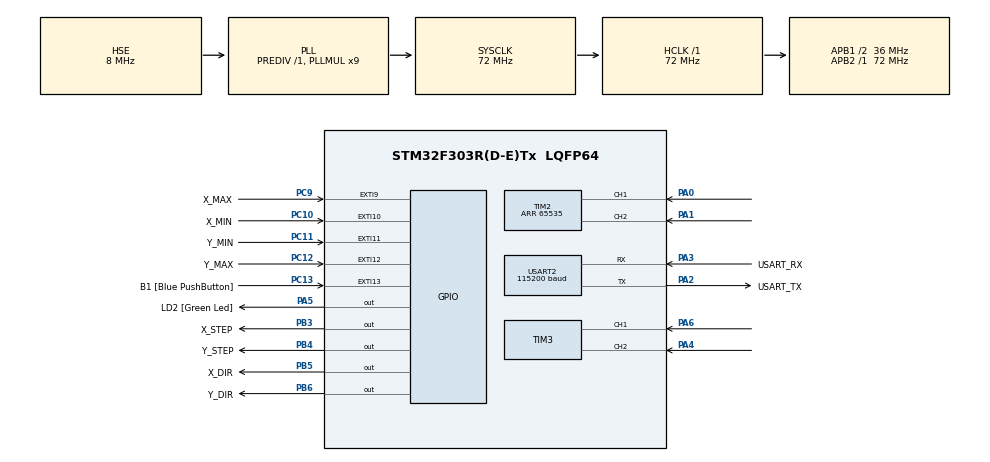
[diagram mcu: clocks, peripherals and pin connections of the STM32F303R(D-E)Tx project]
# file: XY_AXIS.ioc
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Dma.Request0=USART2_RX
Dma.Request1=USART2_TX
Dma.USART2_RX.0.Direction=DMA_PERIPH_TO_MEMORY
Dma.USART2_RX.0.Instance=DMA1_Channel6
Dma.USART2_RX.0.MemDataAlignment=DMA_MDATAALIGN_BYTE
Dma.USART2_RX.0.MemInc=DMA_MINC_ENABLE
Dma.USART2_RX.0.Mode=DMA_CIRCULAR
Dma.USART2_RX.0.PeriphDataAlignment=DMA_PDATAALIGN_BYTE
Dma.USART2_RX.0.PeriphInc=DMA_PINC_DISABLE
Dma.USART2_RX.0.Priority=DMA_PRIORITY_LOW
Dma.USART2_TX.1.Direction=DMA_MEMORY_TO_PERIPH
Dma.USART2_TX.1.Instance=DMA1_Channel7
Dma.USART2_TX.1.MemDataAlignment=DMA_MDATAALIGN_BYTE
Dma.USART2_TX.1.MemInc=DMA_MINC_ENABLE
Dma.USART2_TX.1.Mode=DMA_NORMAL
Dma.USART2_TX.1.PeriphDataAlignment=DMA_PDATAALIGN_BYTE
Dma.USART2_TX.1.PeriphInc=DMA_PINC_DISABLE
Dma.USART2_TX.1.Priority=DMA_PRIORITY_LOW
Mcu.Family=STM32F3
Mcu.Name=STM32F303R(D-E)Tx
Mcu.Package=LQFP64
NVIC.DMA1_Channel6_IRQn=true\:0\:0\:false\:false\:true\:false\:true\:true
NVIC.DMA1_Channel7_IRQn=true\:0\:0\:false\:false\:true\:false\:true\:true
NVIC.EXTI15_10_IRQn=true\:0\:0\:false\:false\:true\:true\:true\:true
NVIC.EXTI9_5_IRQn=true\:0\:0\:false\:false\:true\:true\:true\:true
NVIC.PriorityGroup=NVIC_PRIORITYGROUP_0
NVIC.TIM6_DAC_IRQn=true\:0\:0\:false\:false\:true\:true\:true\:true
NVIC.USART2_IRQn=true\:0\:0\:false\:false\:true\:true\:true\:true
PA0.Signal=S_TIM2_CH1_ETR
PA1.Signal=S_TIM2_CH2
PA13.GPIO_Label=TMS
PA13.Mode=Serial_Wire
PA13.Signal=SYS_JTMS-SWDIO
PA14.GPIO_Label=TCK
PA14.Mode=Serial_Wire
PA14.Signal=SYS_JTCK-SWCLK
PA2.GPIO_Label=USART_TX
PA2.GPIO_Mode=GPIO_MODE_AF_PP
PA2.GPIO_PuPd=GPIO_NOPULL
PA2.GPIO_Speed=GPIO_SPEED_FREQ_LOW
PA2.Mode=Asynchronous
PA2.Signal=USART2_TX
PA3.GPIO_Label=USART_RX
PA3.GPIO_Mode=GPIO_MODE_AF_PP
PA3.GPIO_PuPd=GPIO_NOPULL
PA3.GPIO_Speed=GPIO_SPEED_FREQ_LOW
PA3.Mode=Asynchronous
PA3.Signal=USART2_RX
PA4.Signal=S_TIM3_CH2
PA5.GPIO_Label=LD2 [Green Led]
PA5.GPIO_Mode=GPIO_MODE_OUTPUT_PP
PA5.GPIO_PuPd=GPIO_NOPULL
PA5.GPIO_Speed=GPIO_SPEED_FREQ_LOW
PA5.Signal=GPIO_Output
PA6.Signal=S_TIM3_CH1
PB3.GPIO_Label=X_STEP
PB3.GPIO_ModeDefaultOutputPP=GPIO_MODE_OUTPUT_OD
PB3.GPIO_PuPd=GPIO_NOPULL
PB3.GPIO_Speed=GPIO_SPEED_FREQ_HIGH
PB3.Signal=GPIO_Output
PB4.GPIO_Label=Y_STEP
PB4.GPIO_ModeDefaultOutputPP=GPIO_MODE_OUTPUT_OD
PB4.GPIO_PuPd=GPIO_NOPULL
PB4.GPIO_Speed=GPIO_SPEED_FREQ_HIGH
PB4.Signal=GPIO_Output
PB5.GPIO_Label=X_DIR
PB5.GPIO_ModeDefaultOutputPP=GPIO_MODE_OUTPUT_OD
PB5.GPIO_PuPd=GPIO_NOPULL
PB5.GPIO_Speed=GPIO_SPEED_FREQ_HIGH
PB5.Signal=GPIO_Output
PB6.GPIO_FM6=SYSCFG_CFGR1_I2C_PB6_FMP
PB6.GPIO_Label=Y_DIR
PB6.GPIO_ModeDefaultOutputPP=GPIO_MODE_OUTPUT_OD
PB6.GPIO_PuPd=GPIO_NOPULL
PB6.GPIO_Speed=GPIO_SPEED_FREQ_HIGH
PB6.Signal=GPIO_Output
PC10.GPIO_Label=X_MIN
PC10.GPIO_ModeDefaultEXTI=GPIO_MODE_IT_FALLING
PC10.Signal=GPXTI10
PC11.GPIO_Label=Y_MIN
PC11.GPIO_ModeDefaultEXTI=GPIO_MODE_IT_FALLING
PC11.Signal=GPXTI11
PC12.GPIO_Label=Y_MAX
PC12.GPIO_ModeDefaultEXTI=GPIO_MODE_IT_FALLING
PC12.Signal=GPXTI12
PC13.GPIO_Label=B1 [Blue PushButton]
PC13.GPIO_ModeDefaultEXTI=GPIO_MODE_IT_FALLING
PC13.Signal=GPXTI13
PC14-OSC32_IN.Mode=LSE-External-Oscillator
PC14-OSC32_IN.Signal=RCC_OSC32_IN
PC15-OSC32_OUT.Mode=LSE-External-Oscillator
PC15-OSC32_OUT.Signal=RCC_OSC32_OUT
PC9.GPIO_Label=X_MAX
PC9.GPIO_ModeDefaultEXTI=GPIO_MODE_IT_FALLING
PC9.Signal=GPXTI9
PF0-OSC_IN.Mode=HSE-External-Clock-Source
PF0-OSC_IN.Signal=RCC_OSC_IN
PF1-OSC_OUT.Signal=RCC_OSC_OUT
ProjectManager.HeapSize=0x200
ProjectManager.StackSize=0x400
ProjectManager.TargetToolchain=STM32CubeIDE
RCC.AHBFreq_Value=72000000
RCC.APB1CLKDivider=RCC_HCLK_DIV2
RCC.APB1Freq_Value=36000000
RCC.APB1TimFreq_Value=72000000
RCC.APB2Freq_Value=72000000
RCC.APB2TimFreq_Value=72000000
RCC.CortexFreq_Value=72000000
RCC.HCLKFreq_Value=72000000
RCC.HSE_VALUE=8000000
RCC.HSI_VALUE=8000000
RCC.PLLM=8
RCC.PLLMUL=RCC_PLL_MUL9
RCC.PLLN=336
RCC.PLLP=RCC_PLLP_DIV4
RCC.PLLQ=7
RCC.PLLSourceVirtual=RCC_PLLSOURCE_HSE
RCC.RCC_PLLsource_Clock_Source_FROM_HSE=RCC_HSE_PREDIV_DIV2
RCC.SYSCLKFreq_VALUE=72000000
RCC.SYSCLKSourceVirtual=RCC_SYSCLKSOURCE_PLLCLK
RCC.USBFreq_Value=72000000
SH.S_TIM2_CH1_ETR.0=TIM2_CH1,Encoder_Interface
SH.S_TIM2_CH2.0=TIM2_CH2,Encoder_Interface
SH.S_TIM3_CH1.0=TIM3_CH1,Encoder_Interface
SH.S_TIM3_CH2.0=TIM3_CH2,Encoder_Interface
TIM2.EncoderMode=TIM_ENCODERMODE_TI12
TIM2.Period=65535
TIM3.EncoderMode=TIM_ENCODERMODE_TI12
TIM6.Period=99
TIM6.Prescaler=71
USART2.BaudRate=115200
USART2.VirtualMode-Asynchronous=VM_ASYNC
VP_TIM6_VS_ClockSourceINT.Mode=Enable_Timer
board=NUCLEO-F303RE

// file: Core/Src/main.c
/* USER CODE BEGIN Header */
/**
  ******************************************************************************
  * @file           : main.c
  * @brief          : Main program body
  ******************************************************************************
  * @attention
  *
  * Copyright (c) 2026 STMicroelectronics.
  * All rights reserved.
  *
  * This software is licensed under terms that can be found in the LICENSE file
  * in the root directory of this software component.
  * If no LICENSE file comes with this software, it is provided AS-IS.
  *
  ******************************************************************************
  */
/* USER CODE END Header */
#include "main.h"

/* USER CODE BEGIN Includes */
#include <stdio.h>
#include <string.h>
#include <stdlib.h>

/* USER CODE END Includes */

TIM_HandleTypeDef htim2;
TIM_HandleTypeDef htim3;
TIM_HandleTypeDef htim6;

UART_HandleTypeDef huart2;
DMA_HandleTypeDef hdma_usart2_rx;
DMA_HandleTypeDef hdma_usart2_tx;

/* USER CODE BEGIN PV */

volatile int32_t virtual_X = 0;
volatile int32_t current_X = 0;
volatile int32_t target_X  = 0;
volatile uint8_t e_stop_flag = 0;
volatile uint32_t last_telemetry_tick = 0;
uint16_t x_last_cnt = 0;

volatile int32_t virtual_Y = 0;
volatile int32_t current_Y = 0;
volatile int32_t target_Y  = 0;
uint16_t y_last_cnt = 0;

uint8_t rx_buffer[64];
uint8_t tx_buffer[64];

typedef struct {
    volatile int32_t* current_virtual_pos;
    int32_t target_pos;
    int32_t steps_total;
    int32_t steps_done;
    int32_t accel_steps;
    uint32_t current_delay;
    uint32_t min_delay;
    uint32_t max_delay;
    uint32_t tick_counter;
    uint8_t pulse_active;
    GPIO_TypeDef* step_port;
    uint16_t step_pin;
    GPIO_TypeDef* dir_port;
    uint16_t dir_pin;
} AxisProfile_t;

volatile AxisProfile_t axisX = {&virtual_X, 0, 0, 0, 0, 30, 5, 30, 0, 0, X_STEP_GPIO_Port, X_STEP_Pin, X_DIR_GPIO_Port, X_DIR_Pin};
volatile AxisProfile_t axisY = {&virtual_Y, 0, 0, 0, 0, 30, 5, 30, 0, 0, Y_STEP_GPIO_Port, Y_STEP_Pin, Y_DIR_GPIO_Port, Y_DIR_Pin};

volatile uint8_t uart_rx_restart = 0;
volatile uint8_t cmd_ready = 0;
uint8_t cmd_buffer[64];

typedef enum {
    STATE_IDLE,
    STATE_MOVING,
    STATE_HOMING,
    STATE_VERIFYING,
	STATE_CALIBRATING
} MachineState;

volatile MachineState system_state = STATE_IDLE;
volatile uint32_t verify_timer = 0;
volatile uint8_t correction_attempts = 0;
volatile uint8_t pending_calibration_x = 0;
volatile uint8_t pending_calibration_y = 0;
volatile int32_t calibration_start_steps = 0;

volatile int32_t test_x_MAX = 0;
volatile int32_t test_x_MIN = 0;
volatile int32_t test_y_MAX = 0;
volatile int32_t test_y_MIN = 0;

/* USER CODE END PV */

void SystemClock_Config(void);
static void MX_GPIO_Init(void);
static void MX_DMA_Init(void);
static void MX_USART2_UART_Init(void);
static void MX_TIM2_Init(void);
static void MX_TIM3_Init(void);
static void MX_TIM6_Init(void);

/* USER CODE BEGIN 0 */

void ProcessAxis(volatile AxisProfile_t* axis) {
    if (axis->steps_done >= axis->steps_total) return;

    if (!axis->pulse_active && axis->tick_counter == 0) {
        if (axis->target_pos > *(axis->current_virtual_pos)) {
            HAL_GPIO_WritePin(axis->dir_port, axis->dir_pin, GPIO_PIN_RESET);
        } else {
            HAL_GPIO_WritePin(axis->dir_port, axis->dir_pin, GPIO_PIN_SET);
        }
    }
    axis->tick_counter++;

    if (!axis->pulse_active && axis->tick_counter >= axis->current_delay) {
    	axis->tick_counter = 0;

        HAL_GPIO_WritePin(axis->step_port, axis->step_pin, GPIO_PIN_RESET);
        axis->pulse_active = 1;
        axis->steps_done++;

        if (axis->target_pos > *(axis->current_virtual_pos)) {
            (*(axis->current_virtual_pos))++;
        } else {
            (*(axis->current_virtual_pos))--;
        }

        // Rampa
        int32_t steps_left = axis->steps_total - axis->steps_done;
        if (axis->steps_done < axis->accel_steps) {
            if (axis->current_delay > axis->min_delay) axis->current_delay--;
        } else if (steps_left <= axis->accel_steps) {
            if (axis->current_delay < axis->max_delay) axis->current_delay++;
        }
    }

    if (axis->pulse_active && axis->tick_counter >= 1) {
        HAL_GPIO_WritePin(axis->step_port, axis->step_pin, GPIO_PIN_SET);
        axis->pulse_active = 0;
    }
}
/* USER CODE END 0 */

int main(void)
{

  /* MCU Configuration--------------------------------------------------------*/

  /* Reset of all peripherals, Initializes the Flash interface and the Systick. */
  HAL_Init();

  /* Configure the system clock */
  SystemClock_Config();

  /* Initialize all configured peripherals */
  MX_GPIO_Init();
  MX_DMA_Init();
  MX_USART2_UART_Init();
  MX_TIM2_Init();
  MX_TIM3_Init();
  MX_TIM6_Init();
  /* USER CODE BEGIN 2 */
  HAL_TIM_Encoder_Start(&htim2, TIM_CHANNEL_ALL);
  HAL_TIM_Encoder_Start(&htim3, TIM_CHANNEL_ALL);
  HAL_TIM_Base_Start_IT(&htim6);

  HAL_UARTEx_ReceiveToIdle_DMA(&huart2, rx_buffer, sizeof(rx_buffer));
  __HAL_DMA_DISABLE_IT(&hdma_usart2_rx, DMA_IT_HT);

  /* USER CODE END 2 */

  /* Infinite loop */
  /* USER CODE BEGIN WHILE */
  while (1)
  {
	  if (cmd_ready) {
		  cmd_ready = 0;
		  if (cmd_buffer[0] == 'S') {
			  __disable_irq();
	          e_stop_flag = 1;
	          virtual_X = current_X; target_X = current_X;
	          virtual_Y = current_Y; target_Y = current_Y;
	          system_state = STATE_IDLE;
	          correction_attempts = 0;
	          __enable_irq();
		  }
		  else if (cmd_buffer[0] == 'M') {
			  if (e_stop_flag == 0) {
				  long parsed_X = 0, parsed_Y = 0;
				  if (sscanf((char*)cmd_buffer, "M:%ld:%ld", &parsed_X, &parsed_Y) == 2) {
					  __disable_irq();
					  target_X = parsed_X;
	                  axisX.steps_done = axisX.steps_total;
	                  axisX.target_pos = target_X;
	                  axisX.steps_total = abs(axisX.target_pos - (*axisX.current_virtual_pos));
	                  axisX.steps_done = 0;
	                  axisX.current_delay = axisX.max_delay;
	                  axisX.accel_steps = axisX.steps_total / 3;
	                  if (axisX.accel_steps > 400) axisX.accel_steps = 400;
	                  axisX.tick_counter = 0;
	                  axisX.pulse_active = 0;

	                  target_Y = parsed_Y;
	                  axisY.steps_done = axisY.steps_total;
	                  axisY.target_pos = target_Y;
	                  axisY.steps_total = abs(axisY.target_pos - (*axisY.current_virtual_pos));
	                  axisY.steps_done = 0;
	                  axisY.current_delay = axisY.max_delay;
	                  axisY.accel_steps = axisY.steps_total / 3;
	                  if (axisY.accel_steps > 400) axisY.accel_steps = 400;
	                  axisY.tick_counter = 0;
	                  axisY.pulse_active = 0;
                      system_state = STATE_MOVING;
                      correction_attempts = 0;
                      __enable_irq();
	                    }
	                }
	            }
	            else if (cmd_buffer[0] == 'H') {
	                if (e_stop_flag == 0) {
	                    __disable_irq();

	                    // Homing X
	                    target_X = -99999;
	                    axisX.steps_done = axisX.steps_total;
	                    axisX.target_pos = -99999;
	                    axisX.steps_total = 99999;
	                    axisX.steps_done = 0;
	                    axisX.current_delay = axisX.max_delay;
	                    axisX.accel_steps = 200;
	                    axisX.tick_counter = 0; axisX.pulse_active = 0;

	                    // Homing Y
	                    target_Y = -99999;
	                    axisY.steps_done = axisY.steps_total;
	                    axisY.target_pos = -99999;
	                    axisY.steps_total = 99999;
	                    axisY.steps_done = 0;
	                    axisY.current_delay = axisY.max_delay;
	                    axisY.accel_steps = 200;
	                    axisY.tick_counter = 0; axisY.pulse_active = 0;

	                    system_state = STATE_HOMING;
	                    correction_attempts = 0;
	                    __enable_irq();
	                }
	            }
	            else if (cmd_buffer[0] == 'C') {
	                if (e_stop_flag == 0) {
	                    __disable_irq();
	                    pending_calibration_x = 1;
	                    pending_calibration_y = 1;

	                    target_X = -99999; axisX.steps_done = axisX.steps_total; axisX.target_pos = -99999;
	                    axisX.steps_total = 99999; axisX.steps_done = 0; axisX.current_delay = axisX.max_delay;
	                    axisX.accel_steps = 200; axisX.tick_counter = 0; axisX.pulse_active = 0;

	                    target_Y = -99999; axisY.steps_done = axisY.steps_total; axisY.target_pos = -99999;
	                    axisY.steps_total = 99999; axisY.steps_done = 0; axisY.current_delay = axisY.max_delay;
	                    axisY.accel_steps = 200; axisY.tick_counter = 0; axisY.pulse_active = 0;

	                    system_state = STATE_HOMING;
	                    correction_attempts = 0;
	                    __enable_irq();
	                }
	            }
	            else if (cmd_buffer[0] == 'R') {
	                __disable_irq();
	                e_stop_flag = 0;
	                target_X  = current_X; virtual_X = current_X; axisX.target_pos = current_X; axisX.steps_done = axisX.steps_total;
	                target_Y  = current_Y; virtual_Y = current_Y; axisY.target_pos = current_Y; axisY.steps_done = axisY.steps_total;

	                system_state = STATE_IDLE;
	                correction_attempts = 0;
	                __enable_irq();
	            }
	        }

	        // --- MASZYNA STANÓW: ZAKOŃCZENIE RUCHU I KOREKTA ---

	        if (system_state == STATE_MOVING && axisX.steps_done >= axisX.steps_total && axisY.steps_done >= axisY.steps_total) {
	            system_state = STATE_VERIFYING;
	            verify_timer = HAL_GetTick();
	        }

	        if (system_state == STATE_VERIFYING && (HAL_GetTick() - verify_timer > 100)) {

	            int32_t expected_encoder_x = (target_X * 16249) / 21798;
	            int32_t error_x = expected_encoder_x - current_X;

	            int32_t expected_encoder_y = (target_Y * 50608) / 8452;
	            int32_t error_y = expected_encoder_y - current_Y;

	            if (abs(error_x) > 5 || abs(error_y) > 5) {
	                if (correction_attempts < 3) {
	                    correction_attempts++;
	                    __disable_irq();

	                    if (abs(error_x) > 5) {
	                        int32_t steps_to_correct_x = (error_x * 21798) / 16249;
	                        target_X = target_X + steps_to_correct_x;
	                        axisX.target_pos = target_X;
	                        axisX.steps_total = abs(steps_to_correct_x);
	                        axisX.steps_done = 0;
	                        axisX.current_delay = axisX.max_delay;
	                        axisX.accel_steps = axisX.steps_total / 2;
	                        axisX.tick_counter = 0; axisX.pulse_active = 0;
	                    }

//	                    if (abs(error_y) > 5) {
//	                        int32_t steps_to_correct_y = error_y;
//	                        target_Y = target_Y + steps_to_correct_y;
//	                        axisY.target_pos = target_Y;
//	                        axisY.steps_total = abs(steps_to_correct_y);
//	                        axisY.steps_done = 0;
//	                        axisY.current_delay = axisY.max_delay;
//	                        axisY.accel_steps = axisY.steps_total / 2;
//	                        axisY.tick_counter = 0; axisY.pulse_active = 0;
//	                    }

	                    system_state = STATE_MOVING;
	                    __enable_irq();
	                } else {
	                    system_state = STATE_IDLE;
	                    if (huart2.gState == HAL_UART_STATE_READY) {
	                        sprintf((char*)tx_buffer, "ERR:Limit korekt przekroczony\n");
	                        HAL_UART_Transmit_DMA(&huart2, tx_buffer, strlen((char*)tx_buffer));
	                    }
	                }
	            } else {
	                system_state = STATE_IDLE;
	                correction_attempts = 0;
	                if (huart2.gState == HAL_UART_STATE_READY) {
	                    sprintf((char*)tx_buffer, "OK:%ld:%ld\n", current_X, current_Y);
	                    HAL_UART_Transmit_DMA(&huart2, tx_buffer, strlen((char*)tx_buffer));
	                }
	            }
	        }

	        if (HAL_GetTick() - last_telemetry_tick >= 50) {
	            last_telemetry_tick = HAL_GetTick();

	            uint16_t raw_x = (uint16_t)TIM2->CNT;
	            current_X += (int16_t)(raw_x - x_last_cnt);
	            x_last_cnt = raw_x;

	            uint16_t raw_y = (uint16_t)TIM3->CNT;
	            current_Y += (int16_t)(raw_y - y_last_cnt);
	            y_last_cnt = raw_y;

	            if (huart2.gState == HAL_UART_STATE_READY) {
	                sprintf((char*)tx_buffer, "P:%ld:%ld\n", current_X, current_Y);
	                HAL_UART_Transmit_DMA(&huart2, tx_buffer, strlen((char*)tx_buffer));
	            }
	        }

    /* USER CODE END WHILE */

  }
}

void SystemClock_Config(void)
{
  RCC_OscInitTypeDef RCC_OscInitStruct = {0};
  RCC_ClkInitTypeDef RCC_ClkInitStruct = {0};
  RCC_PeriphCLKInitTypeDef PeriphClkInit = {0};

  /** Initializes the RCC Oscillators according to the specified parameters
  * in the RCC_OscInitTypeDef structure.
  */
  RCC_OscInitStruct.OscillatorType = RCC_OSCILLATORTYPE_HSE;
  RCC_OscInitStruct.HSEState = RCC_HSE_BYPASS;
  RCC_OscInitStruct.HSIState = RCC_HSI_ON;
  RCC_OscInitStruct.PLL.PLLState = RCC_PLL_ON;
  RCC_OscInitStruct.PLL.PLLSource = RCC_PLLSOURCE_HSE;
  RCC_OscInitStruct.PLL.PLLMUL = RCC_PLL_MUL9;
  RCC_OscInitStruct.PLL.PREDIV = RCC_PREDIV_DIV1;
  if (HAL_RCC_OscConfig(&RCC_OscInitStruct) != HAL_OK)
  {
    Error_Handler();
  }

  /** Initializes the CPU, AHB and APB buses clocks
  */
  RCC_ClkInitStruct.ClockType = RCC_CLOCKTYPE_HCLK|RCC_CLOCKTYPE_SYSCLK
                              |RCC_CLOCKTYPE_PCLK1|RCC_CLOCKTYPE_PCLK2;
  RCC_ClkInitStruct.SYSCLKSource = RCC_SYSCLKSOURCE_PLLCLK;
  RCC_ClkInitStruct.AHBCLKDivider = RCC_SYSCLK_DIV1;
  RCC_ClkInitStruct.APB1CLKDivider = RCC_HCLK_DIV2;
  RCC_ClkInitStruct.APB2CLKDivider = RCC_HCLK_DIV1;

  if (HAL_RCC_ClockConfig(&RCC_ClkInitStruct, FLASH_LATENCY_2) != HAL_OK)
  {
    Error_Handler();
  }
  PeriphClkInit.PeriphClockSelection = RCC_PERIPHCLK_USART2|RCC_PERIPHCLK_TIM2
                              |RCC_PERIPHCLK_TIM34;
  PeriphClkInit.Usart2ClockSelection = RCC_USART2CLKSOURCE_PCLK1;
  PeriphClkInit.Tim2ClockSelection = RCC_TIM2CLK_HCLK;
  PeriphClkInit.Tim34ClockSelection = RCC_TIM34CLK_HCLK;
  if (HAL_RCCEx_PeriphCLKConfig(&PeriphClkInit) != HAL_OK)
  {
    Error_Handler();
  }
}

static void MX_TIM2_Init(void)
{

  TIM_Encoder_InitTypeDef sConfig = {0};
  TIM_MasterConfigTypeDef sMasterConfig = {0};

  htim2.Instance = TIM2;
  htim2.Init.Prescaler = 0;
  htim2.Init.CounterMode = TIM_COUNTERMODE_UP;
  htim2.Init.Period = 65535;
  htim2.Init.ClockDivision = TIM_CLOCKDIVISION_DIV1;
  htim2.Init.AutoReloadPreload = TIM_AUTORELOAD_PRELOAD_DISABLE;
  sConfig.EncoderMode = TIM_ENCODERMODE_TI12;
  sConfig.IC1Polarity = TIM_ICPOLARITY_RISING;
  sConfig.IC1Selection = TIM_ICSELECTION_DIRECTTI;
  sConfig.IC1Prescaler = TIM_ICPSC_DIV1;
  sConfig.IC1Filter = 0;
  sConfig.IC2Polarity = TIM_ICPOLARITY_RISING;
  sConfig.IC2Selection = TIM_ICSELECTION_DIRECTTI;
  sConfig.IC2Prescaler = TIM_ICPSC_DIV1;
  sConfig.IC2Filter = 0;
  if (HAL_TIM_Encoder_Init(&htim2, &sConfig) != HAL_OK)
  {
    Error_Handler();
  }
  sMasterConfig.MasterOutputTrigger = TIM_TRGO_RESET;
  sMasterConfig.MasterSlaveMode = TIM_MASTERSLAVEMODE_DISABLE;
  if (HAL_TIMEx_MasterConfigSynchronization(&htim2, &sMasterConfig) != HAL_OK)
  {
    Error_Handler();
  }

}

static void MX_TIM3_Init(void)
{

  TIM_Encoder_InitTypeDef sConfig = {0};
  TIM_MasterConfigTypeDef sMasterConfig = {0};

  htim3.Instance = TIM3;
  htim3.Init.Prescaler = 0;
  htim3.Init.CounterMode = TIM_COUNTERMODE_UP;
  htim3.Init.Period = 65535;
  htim3.Init.ClockDivision = TIM_CLOCKDIVISION_DIV1;
  htim3.Init.AutoReloadPreload = TIM_AUTORELOAD_PRELOAD_DISABLE;
  sConfig.EncoderMode = TIM_ENCODERMODE_TI12;
  sConfig.IC1Polarity = TIM_ICPOLARITY_RISING;
  sConfig.IC1Selection = TIM_ICSELECTION_DIRECTTI;
  sConfig.IC1Prescaler = TIM_ICPSC_DIV1;
  sConfig.IC1Filter = 0;
  sConfig.IC2Polarity = TIM_ICPOLARITY_RISING;
  sConfig.IC2Selection = TIM_ICSELECTION_DIRECTTI;
  sConfig.IC2Prescaler = TIM_ICPSC_DIV1;
  sConfig.IC2Filter = 0;
  if (HAL_TIM_Encoder_Init(&htim3, &sConfig) != HAL_OK)
  {
    Error_Handler();
  }
  sMasterConfig.MasterOutputTrigger = TIM_TRGO_RESET;
  sMasterConfig.MasterSlaveMode = TIM_MASTERSLAVEMODE_DISABLE;
  if (HAL_TIMEx_MasterConfigSynchronization(&htim3, &sMasterConfig) != HAL_OK)
  {
    Error_Handler();
  }

}

static void MX_TIM6_Init(void)
{

  TIM_MasterConfigTypeDef sMasterConfig = {0};

  htim6.Instance = TIM6;
  htim6.Init.Prescaler = 71;
  htim6.Init.CounterMode = TIM_COUNTERMODE_UP;
  htim6.Init.Period = 99;
  htim6.Init.AutoReloadPreload = TIM_AUTORELOAD_PRELOAD_DISABLE;
  if (HAL_TIM_Base_Init(&htim6) != HAL_OK)
  {
    Error_Handler();
  }
  sMasterConfig.MasterOutputTrigger = TIM_TRGO_RESET;
  sMasterConfig.MasterSlaveMode = TIM_MASTERSLAVEMODE_DISABLE;
  if (HAL_TIMEx_MasterConfigSynchronization(&htim6, &sMasterConfig) != HAL_OK)
  {
    Error_Handler();
  }

}

static void MX_USART2_UART_Init(void)
{

  huart2.Instance = USART2;
  huart2.Init.BaudRate = 115200;
  huart2.Init.WordLength = UART_WORDLENGTH_8B;
  huart2.Init.StopBits = UART_STOPBITS_1;
  huart2.Init.Parity = UART_PARITY_NONE;
  huart2.Init.Mode = UART_MODE_TX_RX;
  huart2.Init.HwFlowCtl = UART_HWCONTROL_NONE;
  huart2.Init.OverSampling = UART_OVERSAMPLING_16;
  huart2.Init.OneBitSampling = UART_ONE_BIT_SAMPLE_DISABLE;
  huart2.AdvancedInit.AdvFeatureInit = UART_ADVFEATURE_NO_INIT;
  if (HAL_UART_Init(&huart2) != HAL_OK)
  {
    Error_Handler();
  }

}

static void MX_DMA_Init(void)
{

  /* DMA controller clock enable */
  __HAL_RCC_DMA1_CLK_ENABLE();

  /* DMA interrupt init */
  /* DMA1_Channel6_IRQn interrupt configuration */
  HAL_NVIC_SetPriority(DMA1_Channel6_IRQn, 0, 0);
  HAL_NVIC_EnableIRQ(DMA1_Channel6_IRQn);
  /* DMA1_Channel7_IRQn interrupt configuration */
  HAL_NVIC_SetPriority(DMA1_Channel7_IRQn, 1, 0);
  HAL_NVIC_EnableIRQ(DMA1_Channel7_IRQn);

}

static void MX_GPIO_Init(void)
{
  GPIO_InitTypeDef GPIO_InitStruct = {0};

  /* GPIO Ports Clock Enable */
  __HAL_RCC_GPIOC_CLK_ENABLE();
  __HAL_RCC_GPIOF_CLK_ENABLE();
  __HAL_RCC_GPIOA_CLK_ENABLE();
  __HAL_RCC_GPIOB_CLK_ENABLE();

  /*Configure GPIO pin Output Level */
  HAL_GPIO_WritePin(LD2_GPIO_Port, LD2_Pin, GPIO_PIN_RESET);

  /*Configure GPIO pin Output Level */
  HAL_GPIO_WritePin(GPIOB, X_STEP_Pin|Y_STEP_Pin|X_DIR_Pin|Y_DIR_Pin, GPIO_PIN_RESET);

  /*Configure GPIO pins : B1_Pin X_MAX_Pin X_MIN_Pin Y_MIN_Pin
                           Y_MAX_Pin */
  GPIO_InitStruct.Pin = B1_Pin|X_MAX_Pin|X_MIN_Pin|Y_MIN_Pin
                          |Y_MAX_Pin;
  GPIO_InitStruct.Mode = GPIO_MODE_IT_FALLING;
  GPIO_InitStruct.Pull = GPIO_NOPULL;
  HAL_GPIO_Init(GPIOC, &GPIO_InitStruct);

  /*Configure GPIO pin : LD2_Pin */
  GPIO_InitStruct.Pin = LD2_Pin;
  GPIO_InitStruct.Mode = GPIO_MODE_OUTPUT_PP;
  GPIO_InitStruct.Pull = GPIO_NOPULL;
  GPIO_InitStruct.Speed = GPIO_SPEED_FREQ_LOW;
  HAL_GPIO_Init(LD2_GPIO_Port, &GPIO_InitStruct);

  /*Configure GPIO pins : X_STEP_Pin Y_STEP_Pin X_DIR_Pin Y_DIR_Pin */
  GPIO_InitStruct.Pin = X_STEP_Pin|Y_STEP_Pin|X_DIR_Pin|Y_DIR_Pin;
  GPIO_InitStruct.Mode = GPIO_MODE_OUTPUT_OD;
  GPIO_InitStruct.Pull = GPIO_NOPULL;
  GPIO_InitStruct.Speed = GPIO_SPEED_FREQ_HIGH;
  HAL_GPIO_Init(GPIOB, &GPIO_InitStruct);

  /* EXTI interrupt init*/
  HAL_NVIC_SetPriority(EXTI9_5_IRQn, 0, 0);
  HAL_NVIC_EnableIRQ(EXTI9_5_IRQn);

  HAL_NVIC_SetPriority(EXTI15_10_IRQn, 0, 0);
  HAL_NVIC_EnableIRQ(EXTI15_10_IRQn);

}

/* USER CODE BEGIN 4 */

void HAL_UARTEx_RxEventCallback(UART_HandleTypeDef *huart, uint16_t Size)
{
    if (huart->Instance == USART2) {
        HAL_GPIO_TogglePin(LD2_GPIO_Port, LD2_Pin);

        if (Size > 0 && Size < sizeof(rx_buffer)) {
            rx_buffer[Size] = '\0';
            memcpy(cmd_buffer, rx_buffer, Size + 1);
            cmd_ready = 1;
        }

        memset(rx_buffer, 0, sizeof(rx_buffer));
        HAL_UART_DMAStop(&huart2);
        HAL_UARTEx_ReceiveToIdle_DMA(&huart2, rx_buffer, sizeof(rx_buffer));
        __HAL_DMA_DISABLE_IT(&hdma_usart2_rx, DMA_IT_HT);
    }
}

void HAL_TIM_PeriodElapsedCallback(TIM_HandleTypeDef *htim)
{
    if (htim->Instance == TIM6) {
        if (e_stop_flag) return;
        ProcessAxis(&axisX);
        ProcessAxis(&axisY);
    }
}

void HAL_GPIO_EXTI_Callback(uint16_t GPIO_Pin)
{

    // --- LEWA KRAŃCÓWKA (MIN) X ---
    if (GPIO_Pin == X_MIN_Pin) {
    	test_x_MIN++;
        if (system_state == STATE_CALIBRATING) return;

        TIM2->CNT = 0; current_X = 0; virtual_X = 0; target_X = 0;
        axisX.target_pos = 0; axisX.steps_done = axisX.steps_total; x_last_cnt = 0;

        e_stop_flag = 0;

        if (pending_calibration_x == 1) {
            pending_calibration_x = 0;
            target_X = 99999; axisX.target_pos = 99999; axisX.steps_total = 99999; axisX.steps_done = 0;
            axisX.current_delay = axisX.max_delay; axisX.accel_steps = 200; axisX.tick_counter = 0; axisX.pulse_active = 0;
            system_state = STATE_CALIBRATING;
        } else {

            if (axisY.steps_done >= axisY.steps_total) system_state = STATE_IDLE;
        }
    }
    // --- PRAWA KRAŃCÓWKA (MAX) X LUB PRZYCISK ---
    else if (GPIO_Pin == X_MAX_Pin || GPIO_Pin == B1_Pin) {
    	test_x_MAX++;
        axisX.steps_done = axisX.steps_total;

        if (system_state == STATE_CALIBRATING && GPIO_Pin == X_MAX_Pin) {
            int32_t motor_steps_taken = virtual_X;
            if (huart2.gState == HAL_UART_STATE_READY) {
                sprintf((char*)tx_buffer, "CAL_X:%ld:%ld\n", motor_steps_taken, current_X);
                HAL_UART_Transmit_DMA(&huart2, tx_buffer, strlen((char*)tx_buffer));
            }
            if (axisY.steps_done >= axisY.steps_total) system_state = STATE_IDLE;
        } else {
            e_stop_flag = 1; target_X = current_X; virtual_X = current_X;
            system_state = STATE_IDLE; correction_attempts = 0;
        }
    }

    // --- LEWA KRAŃCÓWKA (MIN) Y ---
    else if (GPIO_Pin == Y_MIN_Pin) {
    	test_y_MIN++;
        if (system_state == STATE_CALIBRATING) return;

        TIM3->CNT = 0; current_Y = 0; virtual_Y = 0; target_Y = 0;
        axisY.target_pos = 0; axisY.steps_done = axisY.steps_total; y_last_cnt = 0;
        e_stop_flag = 0;

        if (pending_calibration_y == 1) {
            pending_calibration_y = 0;
            target_Y = 99999; axisY.target_pos = 99999; axisY.steps_total = 99999; axisY.steps_done = 0;
            axisY.current_delay = axisY.max_delay; axisY.accel_steps = 200; axisY.tick_counter = 0; axisY.pulse_active = 0;
            system_state = STATE_CALIBRATING;
        } else {
            if (axisX.steps_done >= axisX.steps_total) system_state = STATE_IDLE;
        }
    }
    // --- PRAWA KRAŃCÓWKA (MAX) Y ---
    else if (GPIO_Pin == Y_MAX_Pin) {
    	test_y_MAX++;
        axisY.steps_done = axisY.steps_total;

        if (system_state == STATE_CALIBRATING) {
            int32_t motor_steps_taken = virtual_Y;
            if (huart2.gState == HAL_UART_STATE_READY) {
                sprintf((char*)tx_buffer, "CAL_Y:%ld:%ld\n", motor_steps_taken, current_Y);
                HAL_UART_Transmit_DMA(&huart2, tx_buffer, strlen((char*)tx_buffer));
            }
            if (axisX.steps_done >= axisX.steps_total) system_state = STATE_IDLE;
        } else {
            e_stop_flag = 1; target_Y = current_Y; virtual_Y = current_Y;
            system_state = STATE_IDLE; correction_attempts = 0;
        }
    }
}

/* USER CODE END 4 */

void Error_Handler(void)
{
  __disable_irq();
  while (1)
  {
  }
}
